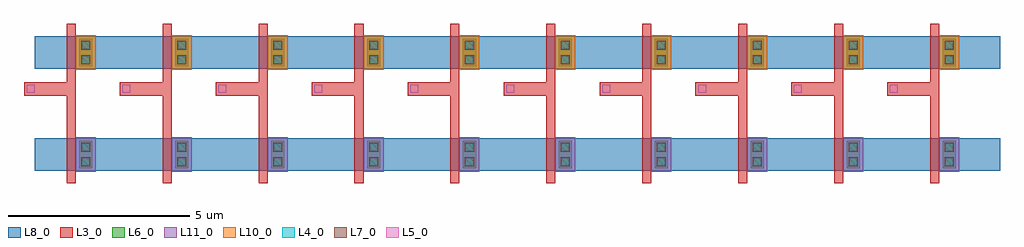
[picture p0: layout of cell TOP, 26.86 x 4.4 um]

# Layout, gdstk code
import gdstk
lib = gdstk.Library(unit=1e-6, precision=1e-09)
def R(c, l, rs):  # rectangles x0, y0, x1, y1
    for r in rs: c.add(gdstk.rectangle(r[:2], r[2:], *l))
L3_0 = (3, 0)
L4_0 = (4, 0)
L5_0 = (5, 0)
L6_0 = (6, 0)
L7_0 = (7, 0)
L8_0 = (8, 0)
L10_0 = (10, 0)
L11_0 = (11, 0)

net_in = lib.new_cell('NET_IN')
R(net_in, L3_0, [(-0.525,-0.8,-0.275,0.8), (-0.525,-0.25,-0.275,2.25), (-1.7,1.62,-0.4,1.98), (-0.525,2,-0.275,3.6)])
R(net_in, L5_0, [(-1.63,1.69,-1.41,1.91)])

inv2 = lib.new_cell('INV2')
inv2.add(gdstk.Reference(net_in, (0,0)))

circuit_inv2 = lib.new_cell('CIRCUIT_INV2')
R(circuit_inv2, L4_0, [(-0.11,-0.31,0.11,-0.09), (-0.11,-0.31,0.11,-0.09), (-0.11,0.09,0.11,0.31), (-0.11,0.09,0.11,0.31)])
R(circuit_inv2, L6_0, [(-0.18,-0.38,0.18,0.38), (-0.18,-0.38,0.18,0.38)])
R(circuit_inv2, L7_0, [(-0.125,-0.325,0.125,-0.075), (-0.125,0.075,0.125,0.325)])
R(circuit_inv2, L8_0, [(-1.4,-0.45,1.4,0.45)])
R(circuit_inv2, L11_0, [(-0.275,-0.475,0.275,0.475)])

net_vss = lib.new_cell('NET_VSS')
net_vss.add(gdstk.Reference(circuit_inv2, (23.76,0)))
net_vss.add(gdstk.Reference(circuit_inv2, (0,0)))
net_vss.add(gdstk.Reference(circuit_inv2, (2.64,0)))
net_vss.add(gdstk.Reference(circuit_inv2, (5.28,0)))
net_vss.add(gdstk.Reference(circuit_inv2, (7.92,0)))
net_vss.add(gdstk.Reference(circuit_inv2, (10.56,0)))
net_vss.add(gdstk.Reference(circuit_inv2, (13.2,0)))
net_vss.add(gdstk.Reference(circuit_inv2, (15.84,0)))
net_vss.add(gdstk.Reference(circuit_inv2, (18.48,0)))
net_vss.add(gdstk.Reference(circuit_inv2, (21.12,0)))

circuit_inv2_1 = lib.new_cell('CIRCUIT_INV2$1')
R(circuit_inv2_1, L4_0, [(-0.11,2.49,0.11,2.71), (-0.11,2.49,0.11,2.71), (-0.11,2.89,0.11,3.11), (-0.11,2.89,0.11,3.11)])
R(circuit_inv2_1, L6_0, [(-0.18,2.42,0.18,3.18), (-0.18,2.42,0.18,3.18)])
R(circuit_inv2_1, L7_0, [(-0.125,2.475,0.125,2.725), (-0.125,2.875,0.125,3.125)])
R(circuit_inv2_1, L8_0, [(-1.4,2.35,1.4,3.25)])
R(circuit_inv2_1, L10_0, [(-0.275,2.325,0.275,3.275)])

net_vdd = lib.new_cell('NET_VDD')
net_vdd.add(gdstk.Reference(circuit_inv2_1, (23.76,0)))
net_vdd.add(gdstk.Reference(circuit_inv2_1, (0,0)))
net_vdd.add(gdstk.Reference(circuit_inv2_1, (2.64,0)))
net_vdd.add(gdstk.Reference(circuit_inv2_1, (5.28,0)))
net_vdd.add(gdstk.Reference(circuit_inv2_1, (7.92,0)))
net_vdd.add(gdstk.Reference(circuit_inv2_1, (10.56,0)))
net_vdd.add(gdstk.Reference(circuit_inv2_1, (13.2,0)))
net_vdd.add(gdstk.Reference(circuit_inv2_1, (15.84,0)))
net_vdd.add(gdstk.Reference(circuit_inv2_1, (18.48,0)))
net_vdd.add(gdstk.Reference(circuit_inv2_1, (21.12,0)))

top = lib.new_cell('TOP')
top.add(gdstk.Reference(inv2, (23.76,0)))
top.add(gdstk.Reference(inv2, (0,0)))
top.add(gdstk.Reference(inv2, (2.64,0)))
top.add(gdstk.Reference(inv2, (5.28,0)))
top.add(gdstk.Reference(inv2, (7.92,0)))
top.add(gdstk.Reference(inv2, (10.56,0)))
top.add(gdstk.Reference(inv2, (13.2,0)))
top.add(gdstk.Reference(inv2, (15.84,0)))
top.add(gdstk.Reference(inv2, (18.48,0)))
top.add(gdstk.Reference(inv2, (21.12,0)))
top.add(gdstk.Reference(net_vss, (0,0)))
top.add(gdstk.Reference(net_vdd, (0,0)))

lib.write_gds('TOP.gds')
